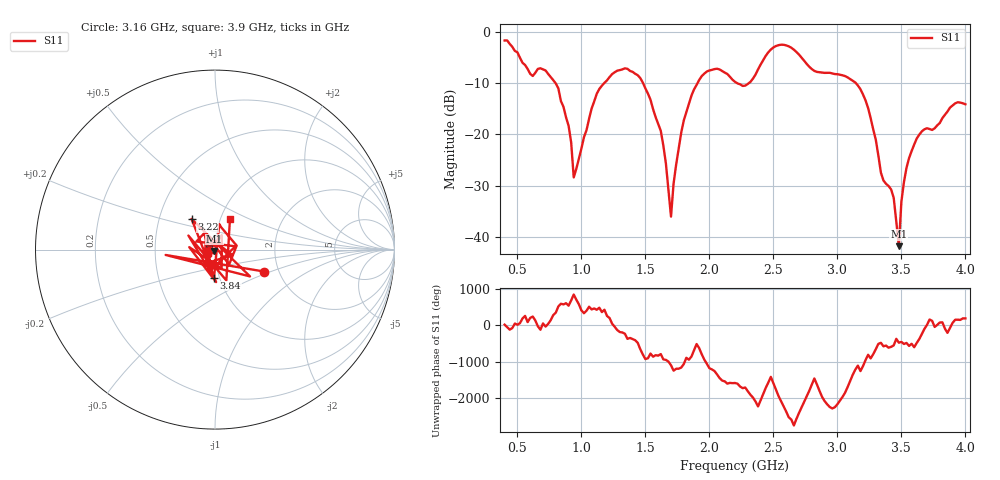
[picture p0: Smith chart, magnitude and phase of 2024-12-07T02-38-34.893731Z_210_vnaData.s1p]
!Created with skrf (http://scikit-rf.org).
# Hz S RI R 50.0
!freq ReS11 ImS11
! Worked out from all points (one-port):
!   181 points, 400 MHz to 4 GHz, reference 50 ohm
!   lowest |S11| = -41.9 dB at 3.48 GHz (marker M1), VSWR 1.02, Z = 49.6 - j0.714 ohm
!   |S11| at or under -10 dB: 799.1 MHz to 1.177 GHz (377.6 MHz wide, 38.2 % of centre); 1.482 GHz to 1.906 GHz (424.3 MHz wide, 25 % of centre); 3.146 GHz to end of sweep (the widest 3 of 4)
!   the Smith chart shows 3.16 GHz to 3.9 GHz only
!   S11 on the Smith chart (normalised r, x): 3.16 GHz: 1.68, -0.45; 3.22 GHz: 0.73, +0.26; 3.84 GHz: 0.94, -0.30; 3.9 GHz: 1.11, +0.40
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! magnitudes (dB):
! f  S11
! 400 MHz  -1.6
! 620 MHz  -8.6
! 720 MHz  -7.5
! 860 MHz  -14.6
! 920 MHz  -21.6
! 940 MHz  -28.4
! 1.12 GHz  -12.0
! 1.3 GHz  -7.4
! 1.54 GHz  -13.2
! 1.62 GHz  -19.3
! 1.7 GHz  -36.1
! 1.76 GHz  -22.8
! 1.94 GHz  -8.6
! 2.2 GHz  -9.7
! 2.32 GHz  -9.7
! 2.52 GHz  -2.7
! 2.66 GHz  -3.4
! 3.1 GHz  -9.2
! 3.16 GHz  -10.4
! 3.22 GHz  -13.3
! 3.34 GHz  -27.5
! 3.44 GHz  -32.4
! 3.48 GHz  -41.9
! 3.5 GHz  -33.1
! 3.56 GHz  -24.6
! 3.84 GHz  -16.2
! 3.9 GHz  -14.3
! 4 GHz  -14.1
